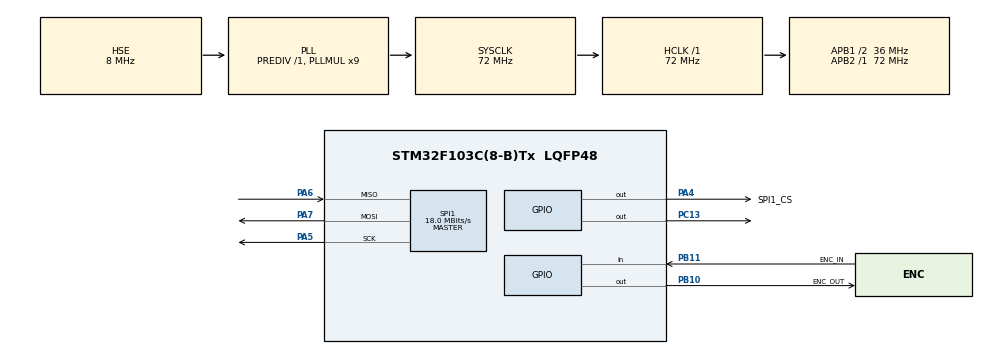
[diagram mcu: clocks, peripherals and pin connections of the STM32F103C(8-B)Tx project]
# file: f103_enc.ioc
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Mcu.Family=STM32F1
Mcu.Name=STM32F103C(8-B)Tx
Mcu.Package=LQFP48
NVIC.PriorityGroup=NVIC_PRIORITYGROUP_4
NVIC.TIM2_IRQn=true\:0\:0\:false\:false\:true\:true\:true
PA13.Mode=Serial_Wire
PA13.Signal=SYS_JTMS-SWDIO
PA14.Mode=Serial_Wire
PA14.Signal=SYS_JTCK-SWCLK
PA4.GPIO_Label=SPI1_CS
PA4.GPIO_PuPd=GPIO_PULLUP
PA4.GPIO_Speed=GPIO_SPEED_FREQ_HIGH
PA4.PinState=GPIO_PIN_SET
PA4.Signal=GPIO_Output
PA5.Mode=Full_Duplex_Master
PA5.Signal=SPI1_SCK
PA6.Mode=Full_Duplex_Master
PA6.Signal=SPI1_MISO
PA7.Mode=Full_Duplex_Master
PA7.Signal=SPI1_MOSI
PB10.GPIO_Label=ENC_OUT
PB10.GPIO_Speed=GPIO_SPEED_FREQ_HIGH
PB10.Signal=GPIO_Output
PB11.GPIO_Label=ENC_IN
PB11.Signal=GPIO_Input
PC13-TAMPER-RTC.Signal=GPIO_Output
PD0-OSC_IN.Mode=HSE-External-Oscillator
PD0-OSC_IN.Signal=RCC_OSC_IN
PD1-OSC_OUT.Mode=HSE-External-Oscillator
PD1-OSC_OUT.Signal=RCC_OSC_OUT
ProjectManager.HeapSize=0x200
ProjectManager.StackSize=0x400
ProjectManager.TargetToolchain=EWARM V8
RCC.AHBFreq_Value=72000000
RCC.APB1CLKDivider=RCC_HCLK_DIV2
RCC.APB1Freq_Value=36000000
RCC.APB1TimFreq_Value=72000000
RCC.APB2Freq_Value=72000000
RCC.APB2TimFreq_Value=72000000
RCC.HCLKFreq_Value=72000000
RCC.PLLMUL=RCC_PLL_MUL9
RCC.PLLSourceVirtual=RCC_PLLSOURCE_HSE
RCC.SYSCLKFreq_VALUE=72000000
RCC.SYSCLKSource=RCC_SYSCLKSOURCE_PLLCLK
RCC.USBFreq_Value=72000000
SPI1.BaudRatePrescaler=SPI_BAUDRATEPRESCALER_4
SPI1.CalculateBaudRate=18.0 MBits/s
SPI1.DataSize=SPI_DATASIZE_16BIT
SPI1.Direction=SPI_DIRECTION_2LINES
SPI1.Mode=SPI_MODE_MASTER
SPI1.VirtualType=VM_MASTER
TIM2.Period=360
VP_TIM2_VS_ClockSourceINT.Mode=Internal
board=custom

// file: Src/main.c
/* USER CODE BEGIN Header */
/**
  ******************************************************************************
  * @file           : main.c
  * @brief          : Main program body
  ******************************************************************************
  * @attention
  *
  * <h2><center>&copy; Copyright (c) 2020 STMicroelectronics.
  * All rights reserved.</center></h2>
  *
  * This software component is licensed by ST under BSD 3-Clause license,
  * the "License"; You may not use this file except in compliance with the
  * License. You may obtain a copy of the License at:
  *                        opensource.org/licenses/BSD-3-Clause
  *
  ******************************************************************************
  */
/* USER CODE END Header */

#include "main.h"
#include "spi.h"
#include "tim.h"
#include "gpio.h"

/* USER CODE BEGIN PV */
uint8_t enc_cnt = 0;
uint8_t enc_flag = 0;
uint16_t enc_angle_tmp = 0;
uint16_t enc_turn_tmp = 0;
uint16_t enc_angle = 0;
uint16_t enc_angle_d = 0;
uint16_t enc_angle_old = 0;
uint16_t enc_turn = 0;

/* USER CODE END PV */

void SystemClock_Config(void);

int main(void)
{

  /* MCU Configuration--------------------------------------------------------*/

  /* Reset of all peripherals, Initializes the Flash interface and the Systick. */
  HAL_Init();

  /* Configure the system clock */
  SystemClock_Config();

  /* Initialize all configured peripherals */
  MX_GPIO_Init();
  MX_SPI1_Init();
  MX_TIM2_Init();
  /* USER CODE BEGIN 2 */

  /*                            TIM2 CONFIGURATION (ENCODER)                    */
   HAL_TIM_Base_Start_IT(&htim2);

     /*                            SPI1 INIT                    */
   HAL_SPI_Init(&hspi1);
   HAL_SPI_MspInit(&hspi1);

  /* USER CODE END 2 */

  /* Infinite loop */
  /* USER CODE BEGIN WHILE */
  while (1)
  {

    if (enc_flag == 1){
      GPIOA->BSRR = SPI1_CS_Pin << 16;    //RESET CS
      HAL_SPI_Transmit(&hspi1,(uint8_t*)&enc_angle,1,100);
      GPIOA->BSRR = SPI1_CS_Pin;    //SET CS
      enc_flag = 0;
      HAL_TIM_Base_Start(&htim2);
      GPIOC->BSRR = GPIO_PIN_13;    //SET
    }
    //HAL_Delay(10);

    /* USER CODE END WHILE */

  }
}

void SystemClock_Config(void)
{
  RCC_OscInitTypeDef RCC_OscInitStruct = {0};
  RCC_ClkInitTypeDef RCC_ClkInitStruct = {0};

  /** Initializes the CPU, AHB and APB busses clocks
  */
  RCC_OscInitStruct.OscillatorType = RCC_OSCILLATORTYPE_HSE;
  RCC_OscInitStruct.HSEState = RCC_HSE_ON;
  RCC_OscInitStruct.HSEPredivValue = RCC_HSE_PREDIV_DIV1;
  RCC_OscInitStruct.HSIState = RCC_HSI_ON;
  RCC_OscInitStruct.PLL.PLLState = RCC_PLL_ON;
  RCC_OscInitStruct.PLL.PLLSource = RCC_PLLSOURCE_HSE;
  RCC_OscInitStruct.PLL.PLLMUL = RCC_PLL_MUL9;
  if (HAL_RCC_OscConfig(&RCC_OscInitStruct) != HAL_OK)
  {
    Error_Handler();
  }
  /** Initializes the CPU, AHB and APB busses clocks
  */
  RCC_ClkInitStruct.ClockType = RCC_CLOCKTYPE_HCLK|RCC_CLOCKTYPE_SYSCLK
                              |RCC_CLOCKTYPE_PCLK1|RCC_CLOCKTYPE_PCLK2;
  RCC_ClkInitStruct.SYSCLKSource = RCC_SYSCLKSOURCE_PLLCLK;
  RCC_ClkInitStruct.AHBCLKDivider = RCC_SYSCLK_DIV1;
  RCC_ClkInitStruct.APB1CLKDivider = RCC_HCLK_DIV2;
  RCC_ClkInitStruct.APB2CLKDivider = RCC_HCLK_DIV1;

  if (HAL_RCC_ClockConfig(&RCC_ClkInitStruct, FLASH_LATENCY_2) != HAL_OK)
  {
    Error_Handler();
  }
}

void Error_Handler(void)
{
}

/************************ (C) COPYRIGHT STMicroelectronics *****END OF FILE****/
